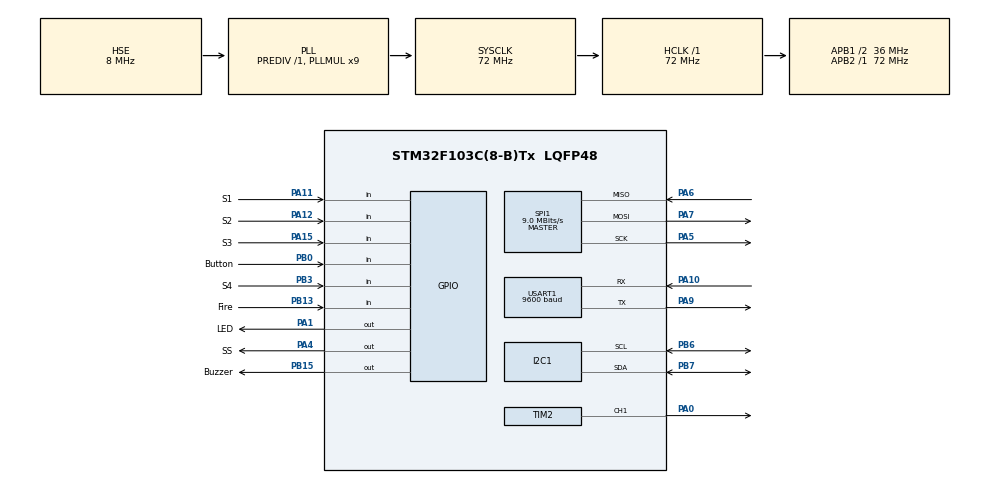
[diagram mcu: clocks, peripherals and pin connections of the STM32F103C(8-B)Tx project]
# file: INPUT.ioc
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Mcu.Family=STM32F1
Mcu.Name=STM32F103C(8-B)Tx
Mcu.Package=LQFP48
NVIC.PriorityGroup=NVIC_PRIORITYGROUP_4
NVIC.USART1_IRQn=true\:1\:0\:true\:false\:true\:true\:true\:true
PA0-WKUP.Signal=S_TIM2_CH1_ETR
PA1.GPIO_Label=LED
PA1.Signal=GPIO_Output
PA10.Mode=Asynchronous
PA10.Signal=USART1_RX
PA11.GPIO_Label=S1
PA11.GPIO_PuPd=GPIO_PULLUP
PA11.Signal=GPIO_Input
PA12.GPIO_Label=S2
PA12.GPIO_PuPd=GPIO_PULLUP
PA12.Signal=GPIO_Input
PA13.Mode=Serial_Wire
PA13.Signal=SYS_JTMS-SWDIO
PA14.Mode=Serial_Wire
PA14.Signal=SYS_JTCK-SWCLK
PA15.GPIO_Label=S3
PA15.GPIO_PuPd=GPIO_PULLUP
PA15.Signal=GPIO_Input
PA4.GPIO_Label=SS
PA4.Signal=GPIO_Output
PA5.Mode=Full_Duplex_Master
PA5.Signal=SPI1_SCK
PA6.Mode=Full_Duplex_Master
PA6.Signal=SPI1_MISO
PA7.Mode=Full_Duplex_Master
PA7.Signal=SPI1_MOSI
PA9.Mode=Asynchronous
PA9.Signal=USART1_TX
PB0.GPIO_Label=Button
PB0.GPIO_PuPd=GPIO_PULLUP
PB0.Signal=GPIO_Input
PB13.GPIO_Label=Fire
PB13.GPIO_PuPd=GPIO_PULLUP
PB13.Signal=GPIO_Input
PB15.GPIO_Label=Buzzer
PB15.Signal=GPIO_Output
PB3.GPIO_Label=S4
PB3.GPIO_PuPd=GPIO_PULLUP
PB3.Signal=GPIO_Input
PB6.Mode=I2C
PB6.Signal=I2C1_SCL
PB7.Mode=I2C
PB7.Signal=I2C1_SDA
PD0-OSC_IN.Mode=HSE-External-Oscillator
PD0-OSC_IN.Signal=RCC_OSC_IN
PD1-OSC_OUT.Mode=HSE-External-Oscillator
PD1-OSC_OUT.Signal=RCC_OSC_OUT
ProjectManager.HeapSize=0x200
ProjectManager.StackSize=0x400
ProjectManager.TargetToolchain=MDK-ARM V5
RCC.AHBFreq_Value=72000000
RCC.APB1CLKDivider=RCC_HCLK_DIV2
RCC.APB1Freq_Value=36000000
RCC.APB1TimFreq_Value=72000000
RCC.APB2Freq_Value=72000000
RCC.APB2TimFreq_Value=72000000
RCC.HCLKFreq_Value=72000000
RCC.PLLMUL=RCC_PLL_MUL9
RCC.PLLSourceVirtual=RCC_PLLSOURCE_HSE
RCC.RTCClockSelection=RCC_RTCCLKSOURCE_HSE_DIV128
RCC.SYSCLKFreq_VALUE=72000000
RCC.SYSCLKSource=RCC_SYSCLKSOURCE_PLLCLK
RCC.USBFreq_Value=72000000
SH.S_TIM2_CH1_ETR.0=TIM2_CH1,PWM Generation1 CH1
SPI1.BaudRatePrescaler=SPI_BAUDRATEPRESCALER_8
SPI1.CalculateBaudRate=9.0 MBits/s
SPI1.Direction=SPI_DIRECTION_2LINES
SPI1.Mode=SPI_MODE_MASTER
SPI1.VirtualType=VM_MASTER
TIM2.Channel-PWM\ Generation1\ CH1=TIM_CHANNEL_1
TIM2.Period=199
TIM2.Prescaler=7200-1
USART1.BaudRate=9600
USART1.VirtualMode=VM_ASYNC
VP_TIM2_VS_ClockSourceINT.Mode=Internal
board=custom

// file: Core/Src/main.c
/* USER CODE BEGIN Header */
/**
  ******************************************************************************
  * @file           : main.c
  * @brief          : Main program body
  ******************************************************************************
  * @attention
  *
  * Copyright (c) 2023 STMicroelectronics.
  * All rights reserved.
  *
  * This software is licensed under terms that can be found in the LICENSE file
  * in the root directory of this software component.
  * If no LICENSE file comes with this software, it is provided AS-IS.
  *
  ******************************************************************************
  */
/* USER CODE END Header */
#include "main.h"

/* USER CODE BEGIN Includes */
#include "CLCD_I2C.h"
#include "rc522.h"
#include "stdio.h"
#include "string.h"
/* USER CODE END Includes */

I2C_HandleTypeDef hi2c1;

SPI_HandleTypeDef hspi1;

TIM_HandleTypeDef htim2;

UART_HandleTypeDef huart1;

/* USER CODE BEGIN PV */
CLCD_I2C_Name LCD1;
uint8_t serial[6];
uint8_t Readcard[5];
char UID[9];
char user[16];
char str[32]="";
uint8_t buffer_Rx[1];
uint8_t Cua = 0;
uint8_t state[6];
uint8_t occupied=0;
uint8_t a=0;
uint8_t b=0;
uint8_t c=0;
uint8_t d=0;
/* USER CODE END PV */

void SystemClock_Config(void);
static void MX_GPIO_Init(void);
static void MX_SPI1_Init(void);
static void MX_I2C1_Init(void);
static void MX_USART1_UART_Init(void);
static void MX_TIM2_Init(void);

/* USER CODE BEGIN 0 */

void Servo()
{
	__HAL_TIM_SET_COMPARE(&htim2,TIM_CHANNEL_1,15);
	HAL_Delay(3000);
	__HAL_TIM_SET_COMPARE(&htim2,TIM_CHANNEL_1,25);
}

void LCD_Welcome()
{
	CLCD_I2C_Clear(&LCD1);
	CLCD_I2C_SetCursor(&LCD1,4,0);
	CLCD_I2C_WriteString(&LCD1,"Welcome");
	CLCD_I2C_SetCursor(&LCD1,0,1);
	CLCD_I2C_WriteString(&LCD1,"Moi ban quet the");

}

void LCD_False()
{
	CLCD_I2C_Clear(&LCD1);
	CLCD_I2C_SetCursor(&LCD1,4,0);
	CLCD_I2C_WriteString(&LCD1,"The sai");
	CLCD_I2C_SetCursor(&LCD1,0,1);
	CLCD_I2C_WriteString(&LCD1,"Moi ban quet lai");
	for(uint8_t i=0;i<3;i++)
	{
		HAL_GPIO_WritePin(Buzzer_GPIO_Port,Buzzer_Pin,GPIO_PIN_SET);
		HAL_Delay(300);
		HAL_GPIO_WritePin(Buzzer_GPIO_Port,Buzzer_Pin,GPIO_PIN_RESET);
		HAL_Delay(300);
	}
}

void Bao_Chay()
{
	if(HAL_GPIO_ReadPin(Fire_GPIO_Port,Fire_Pin) == 0){
		CLCD_I2C_SetCursor(&LCD1,3,0);
		CLCD_I2C_WriteString(&LCD1,"Warning!!!");
		CLCD_I2C_SetCursor(&LCD1,0,1);
		CLCD_I2C_WriteString(&LCD1,"Canh bao co chay");
		__HAL_TIM_SET_COMPARE(&htim2,TIM_CHANNEL_1,15);
		HAL_GPIO_WritePin(Buzzer_GPIO_Port,Buzzer_Pin,GPIO_PIN_SET);
	}
	else {
//		LCD_Welcome();
		CLCD_I2C_SetCursor(&LCD1,3,0);
		CLCD_I2C_WriteString(&LCD1," Welcome  ");
		CLCD_I2C_SetCursor(&LCD1,0,1);
		CLCD_I2C_WriteString(&LCD1,"Moi ban quet the");
		if(Cua==0){
			HAL_Delay(50);
		__HAL_TIM_SET_COMPARE(&htim2,TIM_CHANNEL_1,5);
		}
		HAL_GPIO_WritePin(Buzzer_GPIO_Port,Buzzer_Pin,GPIO_PIN_RESET);
	}
}

void Full_slot()
{
	if((HAL_GPIO_ReadPin(S1_GPIO_Port,S1_Pin) == 0) && (HAL_GPIO_ReadPin(S2_GPIO_Port,S2_Pin) == 0) &&
		(HAL_GPIO_ReadPin(S3_GPIO_Port,S3_Pin) == 0) && (HAL_GPIO_ReadPin(S4_GPIO_Port,S4_Pin) == 0))
	{
		CLCD_I2C_Clear(&LCD1);
		CLCD_I2C_SetCursor(&LCD1,3,0);
		CLCD_I2C_WriteString(&LCD1,"Warning!!!");
		CLCD_I2C_SetCursor(&LCD1,0,1);
		CLCD_I2C_WriteString(&LCD1,"Bai do xe da day");
	}
}

void State_baidoxe()
{
	state[0]='@';
	if(HAL_GPIO_ReadPin(S1_GPIO_Port,S1_Pin) == 0)
	{
		state[1] = '1';
	}
	else state[1] = '0';
	if(HAL_GPIO_ReadPin(S2_GPIO_Port,S2_Pin) == 0)
	{
		state[2] = '1';
	}
	else state[2] = '0';
	if(HAL_GPIO_ReadPin(S3_GPIO_Port,S3_Pin) == 0)
	{
		state[3] = '1';
	}
	else state[3] = '0';
	if(HAL_GPIO_ReadPin(S4_GPIO_Port,S4_Pin) == 0)
	{
		state[4] = '1';
	}
	else state[4] = '0';
	state[5] = '\0';
	occupied=0;
	for(int i=1; i < sizeof(state)-1; i++)
	{
		if(state[i]=='1')
			occupied++;
	}
}

void HAL_UART_RxCpltCallback(UART_HandleTypeDef *huart)
{
	if(huart == &huart1 )
	{
		if(buffer_Rx[0] == 'Y')
		{
			a = 1;
			HAL_GPIO_TogglePin(LED_GPIO_Port,LED_Pin);
		}
		if(buffer_Rx[0] == 'O')
		{
			__HAL_TIM_SET_COMPARE(&htim2,TIM_CHANNEL_1,15);
		}
		if(buffer_Rx[0] == 'C')
		{
			__HAL_TIM_SET_COMPARE(&htim2,TIM_CHANNEL_1,25);
		}
		if(buffer_Rx[0] == 'R')
		{
			HAL_UART_Transmit(&huart1,(uint8_t *)state,sizeof(state),100);
		}
		HAL_UART_Receive_IT(&huart1,buffer_Rx,sizeof(buffer_Rx));
	}
}

void User_data()
{
	if (occupied == 4)
	{
		HAL_UART_Transmit(&huart1,(uint8_t *)state,sizeof(state),100);
//		CLCD_I2C_Clear(&LCD1);
//		CLCD_I2C_SetCursor(&LCD1,5,0);
//		CLCD_I2C_WriteString(&LCD1,"Sorry");
//		CLCD_I2C_SetCursor(&LCD1,0,1);
//		CLCD_I2C_WriteString(&LCD1,"Bai do xe da day");
//		HAL_Delay(3000);
//		LCD_Welcome();
	}
	else
	{
		HAL_UART_Transmit(&huart1,(uint8_t *)state,sizeof(state),100);
		HAL_Delay(500);
		HAL_UART_Transmit(&huart1,(uint8_t *)UID,sizeof(UID),100);
	}
}

void array_to_string(uint8_t array[],uint8_t len,char buffer[])
{
	for(uint8_t i=0;i<4;i++)
	{
		uint8_t nib1 = (array[i]>>4) & 0x0F;
		uint8_t nib2 = (array[i]>>0) & 0x0F;
		buffer[i*2+0] = nib1 < 0xA ? '0' + nib1 : 'A' + nib1 - 0xA;
		buffer[i*2+1] = nib2 < 0xA ? '0' + nib2 : 'A' + nib2 - 0xA;
	}
	buffer[len*2] = '\0';

}
void Check_ID()
{
	if(!TM_MFRC522_Request(PICC_REQIDL,serial)){
			if(!TM_MFRC522_Anticoll(serial)){
				HAL_GPIO_WritePin(Buzzer_GPIO_Port,Buzzer_Pin,GPIO_PIN_SET);
				HAL_Delay(300);
				HAL_GPIO_WritePin(Buzzer_GPIO_Port,Buzzer_Pin,GPIO_PIN_RESET);
				HAL_Delay(100);
				for (uint8_t i=1;i<5;i++){
					Readcard[i-1]=serial[i];
				}
				array_to_string(Readcard,4,str);
				strcpy(UID,str);
				User_data();
				TM_MFRC522_Halt();
			}
	}
}
/* USER CODE END 0 */

int main(void)
{

  /* MCU Configuration--------------------------------------------------------*/

  /* Reset of all peripherals, Initializes the Flash interface and the Systick. */
  HAL_Init();

  /* Configure the system clock */
  SystemClock_Config();

  /* Initialize all configured peripherals */
  MX_GPIO_Init();
  MX_SPI1_Init();
  MX_I2C1_Init();
  MX_USART1_UART_Init();
  MX_TIM2_Init();
  /* USER CODE BEGIN 2 */

	HAL_TIM_PWM_Start(&htim2,TIM_CHANNEL_1);
	TM_MFRC522_Init();
	CLCD_I2C_Init(&LCD1,&hi2c1,0x4e,20,4);
	LCD_Welcome();
	HAL_UART_Receive_IT(&huart1,buffer_Rx,sizeof(buffer_Rx));

  /* USER CODE END 2 */

  /* Infinite loop */
  while (1)
  {

    /* USER CODE BEGIN 3 */
		State_baidoxe();
		Check_ID();
		if (a == 1)
		{
			Servo();
			a=0;
		}
  }
  /* USER CODE END 3 */
}

void SystemClock_Config(void)
{
  RCC_OscInitTypeDef RCC_OscInitStruct = {0};
  RCC_ClkInitTypeDef RCC_ClkInitStruct = {0};

  /** Initializes the RCC Oscillators according to the specified parameters
  * in the RCC_OscInitTypeDef structure.
  */
  RCC_OscInitStruct.OscillatorType = RCC_OSCILLATORTYPE_HSE;
  RCC_OscInitStruct.HSEState = RCC_HSE_ON;
  RCC_OscInitStruct.HSEPredivValue = RCC_HSE_PREDIV_DIV1;
  RCC_OscInitStruct.HSIState = RCC_HSI_ON;
  RCC_OscInitStruct.PLL.PLLState = RCC_PLL_ON;
  RCC_OscInitStruct.PLL.PLLSource = RCC_PLLSOURCE_HSE;
  RCC_OscInitStruct.PLL.PLLMUL = RCC_PLL_MUL9;
  if (HAL_RCC_OscConfig(&RCC_OscInitStruct) != HAL_OK)
  {
    Error_Handler();
  }

  /** Initializes the CPU, AHB and APB buses clocks
  */
  RCC_ClkInitStruct.ClockType = RCC_CLOCKTYPE_HCLK|RCC_CLOCKTYPE_SYSCLK
                              |RCC_CLOCKTYPE_PCLK1|RCC_CLOCKTYPE_PCLK2;
  RCC_ClkInitStruct.SYSCLKSource = RCC_SYSCLKSOURCE_PLLCLK;
  RCC_ClkInitStruct.AHBCLKDivider = RCC_SYSCLK_DIV1;
  RCC_ClkInitStruct.APB1CLKDivider = RCC_HCLK_DIV2;
  RCC_ClkInitStruct.APB2CLKDivider = RCC_HCLK_DIV1;

  if (HAL_RCC_ClockConfig(&RCC_ClkInitStruct, FLASH_LATENCY_2) != HAL_OK)
  {
    Error_Handler();
  }
}

static void MX_I2C1_Init(void)
{

  hi2c1.Instance = I2C1;
  hi2c1.Init.ClockSpeed = 100000;
  hi2c1.Init.DutyCycle = I2C_DUTYCYCLE_2;
  hi2c1.Init.OwnAddress1 = 0;
  hi2c1.Init.AddressingMode = I2C_ADDRESSINGMODE_7BIT;
  hi2c1.Init.DualAddressMode = I2C_DUALADDRESS_DISABLE;
  hi2c1.Init.OwnAddress2 = 0;
  hi2c1.Init.GeneralCallMode = I2C_GENERALCALL_DISABLE;
  hi2c1.Init.NoStretchMode = I2C_NOSTRETCH_DISABLE;
  if (HAL_I2C_Init(&hi2c1) != HAL_OK)
  {
    Error_Handler();
  }

}

static void MX_SPI1_Init(void)
{

  /* SPI1 parameter configuration*/
  hspi1.Instance = SPI1;
  hspi1.Init.Mode = SPI_MODE_MASTER;
  hspi1.Init.Direction = SPI_DIRECTION_2LINES;
  hspi1.Init.DataSize = SPI_DATASIZE_8BIT;
  hspi1.Init.CLKPolarity = SPI_POLARITY_LOW;
  hspi1.Init.CLKPhase = SPI_PHASE_1EDGE;
  hspi1.Init.NSS = SPI_NSS_SOFT;
  hspi1.Init.BaudRatePrescaler = SPI_BAUDRATEPRESCALER_8;
  hspi1.Init.FirstBit = SPI_FIRSTBIT_MSB;
  hspi1.Init.TIMode = SPI_TIMODE_DISABLE;
  hspi1.Init.CRCCalculation = SPI_CRCCALCULATION_DISABLE;
  hspi1.Init.CRCPolynomial = 10;
  if (HAL_SPI_Init(&hspi1) != HAL_OK)
  {
    Error_Handler();
  }

}

static void MX_TIM2_Init(void)
{

  TIM_ClockConfigTypeDef sClockSourceConfig = {0};
  TIM_MasterConfigTypeDef sMasterConfig = {0};
  TIM_OC_InitTypeDef sConfigOC = {0};

  htim2.Instance = TIM2;
  htim2.Init.Prescaler = 7200-1;
  htim2.Init.CounterMode = TIM_COUNTERMODE_UP;
  htim2.Init.Period = 199;
  htim2.Init.ClockDivision = TIM_CLOCKDIVISION_DIV1;
  htim2.Init.AutoReloadPreload = TIM_AUTORELOAD_PRELOAD_DISABLE;
  if (HAL_TIM_Base_Init(&htim2) != HAL_OK)
  {
    Error_Handler();
  }
  sClockSourceConfig.ClockSource = TIM_CLOCKSOURCE_INTERNAL;
  if (HAL_TIM_ConfigClockSource(&htim2, &sClockSourceConfig) != HAL_OK)
  {
    Error_Handler();
  }
  if (HAL_TIM_PWM_Init(&htim2) != HAL_OK)
  {
    Error_Handler();
  }
  sMasterConfig.MasterOutputTrigger = TIM_TRGO_RESET;
  sMasterConfig.MasterSlaveMode = TIM_MASTERSLAVEMODE_DISABLE;
  if (HAL_TIMEx_MasterConfigSynchronization(&htim2, &sMasterConfig) != HAL_OK)
  {
    Error_Handler();
  }
  sConfigOC.OCMode = TIM_OCMODE_PWM1;
  sConfigOC.Pulse = 0;
  sConfigOC.OCPolarity = TIM_OCPOLARITY_HIGH;
  sConfigOC.OCFastMode = TIM_OCFAST_DISABLE;
  if (HAL_TIM_PWM_ConfigChannel(&htim2, &sConfigOC, TIM_CHANNEL_1) != HAL_OK)
  {
    Error_Handler();
  }
  HAL_TIM_MspPostInit(&htim2);

}

static void MX_USART1_UART_Init(void)
{

  huart1.Instance = USART1;
  huart1.Init.BaudRate = 9600;
  huart1.Init.WordLength = UART_WORDLENGTH_8B;
  huart1.Init.StopBits = UART_STOPBITS_1;
  huart1.Init.Parity = UART_PARITY_NONE;
  huart1.Init.Mode = UART_MODE_TX_RX;
  huart1.Init.HwFlowCtl = UART_HWCONTROL_NONE;
  huart1.Init.OverSampling = UART_OVERSAMPLING_16;
  if (HAL_UART_Init(&huart1) != HAL_OK)
  {
    Error_Handler();
  }

}

static void MX_GPIO_Init(void)
{
  GPIO_InitTypeDef GPIO_InitStruct = {0};

  /* GPIO Ports Clock Enable */
  __HAL_RCC_GPIOD_CLK_ENABLE();
  __HAL_RCC_GPIOA_CLK_ENABLE();
  __HAL_RCC_GPIOB_CLK_ENABLE();

  /*Configure GPIO pin Output Level */
  HAL_GPIO_WritePin(GPIOA, LED_Pin|SS_Pin, GPIO_PIN_RESET);

  /*Configure GPIO pin Output Level */
  HAL_GPIO_WritePin(Buzzer_GPIO_Port, Buzzer_Pin, GPIO_PIN_RESET);

  /*Configure GPIO pins : LED_Pin SS_Pin */
  GPIO_InitStruct.Pin = LED_Pin|SS_Pin;
  GPIO_InitStruct.Mode = GPIO_MODE_OUTPUT_PP;
  GPIO_InitStruct.Pull = GPIO_NOPULL;
  GPIO_InitStruct.Speed = GPIO_SPEED_FREQ_LOW;
  HAL_GPIO_Init(GPIOA, &GPIO_InitStruct);

  /*Configure GPIO pins : Button_Pin Fire_Pin S4_Pin */
  GPIO_InitStruct.Pin = Button_Pin|Fire_Pin|S4_Pin;
  GPIO_InitStruct.Mode = GPIO_MODE_INPUT;
  GPIO_InitStruct.Pull = GPIO_PULLUP;
  HAL_GPIO_Init(GPIOB, &GPIO_InitStruct);

  /*Configure GPIO pin : Buzzer_Pin */
  GPIO_InitStruct.Pin = Buzzer_Pin;
  GPIO_InitStruct.Mode = GPIO_MODE_OUTPUT_PP;
  GPIO_InitStruct.Pull = GPIO_NOPULL;
  GPIO_InitStruct.Speed = GPIO_SPEED_FREQ_LOW;
  HAL_GPIO_Init(Buzzer_GPIO_Port, &GPIO_InitStruct);

  /*Configure GPIO pins : S1_Pin S2_Pin S3_Pin */
  GPIO_InitStruct.Pin = S1_Pin|S2_Pin|S3_Pin;
  GPIO_InitStruct.Mode = GPIO_MODE_INPUT;
  GPIO_InitStruct.Pull = GPIO_PULLUP;
  HAL_GPIO_Init(GPIOA, &GPIO_InitStruct);

}

void Error_Handler(void)
{
  __disable_irq();
  while (1)
  {
  }
}
